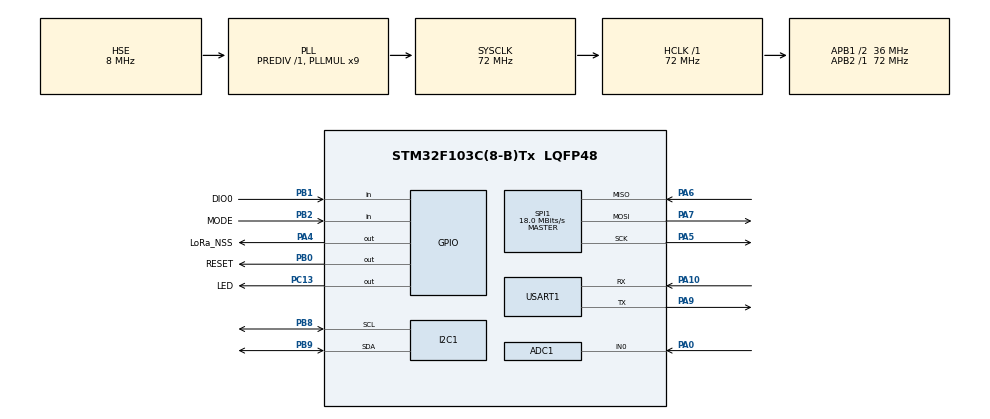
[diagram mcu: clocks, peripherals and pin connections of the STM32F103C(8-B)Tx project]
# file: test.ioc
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ADC1.Channel-0\#ChannelRegularConversion=ADC_CHANNEL_0
ADC1.NbrOfConversionFlag=1
ADC1.Rank-0\#ChannelRegularConversion=1
ADC1.SamplingTime-0\#ChannelRegularConversion=ADC_SAMPLETIME_1CYCLE_5
ADC1.master=1
Dma.ADC1.0.Direction=DMA_PERIPH_TO_MEMORY
Dma.ADC1.0.Instance=DMA1_Channel1
Dma.ADC1.0.MemDataAlignment=DMA_MDATAALIGN_HALFWORD
Dma.ADC1.0.MemInc=DMA_MINC_ENABLE
Dma.ADC1.0.Mode=DMA_CIRCULAR
Dma.ADC1.0.PeriphDataAlignment=DMA_PDATAALIGN_HALFWORD
Dma.ADC1.0.PeriphInc=DMA_PINC_DISABLE
Dma.ADC1.0.Priority=DMA_PRIORITY_LOW
Dma.Request0=ADC1
Mcu.Family=STM32F1
Mcu.Name=STM32F103C(8-B)Tx
Mcu.Package=LQFP48
NVIC.ADC1_2_IRQn=true\:0\:0\:false\:false\:true\:true\:true
NVIC.DMA1_Channel1_IRQn=true\:0\:0\:false\:false\:true\:false\:true
NVIC.PriorityGroup=NVIC_PRIORITYGROUP_4
PA0-WKUP.Signal=ADCx_IN0
PA10.Mode=Asynchronous
PA10.Signal=USART1_RX
PA13.Mode=Trace_Asynchronous_SW
PA13.Signal=SYS_JTMS-SWDIO
PA14.Mode=Trace_Asynchronous_SW
PA14.Signal=SYS_JTCK-SWCLK
PA4.GPIO_Label=LoRa_NSS
PA4.Signal=GPIO_Output
PA5.Mode=Full_Duplex_Master
PA5.Signal=SPI1_SCK
PA6.Mode=Full_Duplex_Master
PA6.Signal=SPI1_MISO
PA7.Mode=Full_Duplex_Master
PA7.Signal=SPI1_MOSI
PA9.Mode=Asynchronous
PA9.Signal=USART1_TX
PB0.GPIO_Label=RESET
PB0.Signal=GPIO_Output
PB1.GPIO_Label=DIO0
PB1.Signal=GPIO_Input
PB2.GPIO_Label=MODE
PB2.Signal=GPIO_Input
PB3.Mode=Trace_Asynchronous_SW
PB3.Signal=SYS_JTDO-TRACESWO
PB8.Mode=I2C
PB8.Signal=I2C1_SCL
PB9.Mode=I2C
PB9.Signal=I2C1_SDA
PC13-TAMPER-RTC.GPIO_Label=LED
PC13-TAMPER-RTC.Signal=GPIO_Output
PD0-OSC_IN.Mode=HSE-External-Oscillator
PD0-OSC_IN.Signal=RCC_OSC_IN
PD1-OSC_OUT.Mode=HSE-External-Oscillator
PD1-OSC_OUT.Signal=RCC_OSC_OUT
ProjectManager.HeapSize=0x200
ProjectManager.StackSize=0x400
ProjectManager.TargetToolchain=MDK-ARM V5
RCC.ADCPresc=RCC_ADCPCLK2_DIV6
RCC.AHBFreq_Value=72000000
RCC.APB1CLKDivider=RCC_HCLK_DIV2
RCC.APB1Freq_Value=36000000
RCC.APB1TimFreq_Value=72000000
RCC.APB2Freq_Value=72000000
RCC.APB2TimFreq_Value=72000000
RCC.HCLKFreq_Value=72000000
RCC.PLLMUL=RCC_PLL_MUL9
RCC.PLLSourceVirtual=RCC_PLLSOURCE_HSE
RCC.SYSCLKFreq_VALUE=72000000
RCC.SYSCLKSource=RCC_SYSCLKSOURCE_PLLCLK
RCC.USBFreq_Value=72000000
SH.ADCx_IN0.0=ADC1_IN0,IN0
SPI1.BaudRatePrescaler=SPI_BAUDRATEPRESCALER_4
SPI1.CalculateBaudRate=18.0 MBits/s
SPI1.Direction=SPI_DIRECTION_2LINES
SPI1.Mode=SPI_MODE_MASTER
SPI1.VirtualType=VM_MASTER
TIM2.Period=4999
TIM2.Prescaler=36000
USART1.VirtualMode=VM_ASYNC
VP_TIM2_VS_ClockSourceINT.Mode=Internal
board=custom

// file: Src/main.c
/* USER CODE BEGIN Header */
/**
  ******************************************************************************
  * @file           : main.c
  * @brief          : Main program body
  ******************************************************************************
  * @attention
  *
  * <h2><center>&copy; Copyright (c) 2019 STMicroelectronics.
  * All rights reserved.</center></h2>
  *
  * This software component is licensed by ST under BSD 3-Clause license,
  * the "License"; You may not use this file except in compliance with the
  * License. You may obtain a copy of the License at:
  *                        opensource.org/licenses/BSD-3-Clause
  *
  ******************************************************************************
  */
/* USER CODE END Header */

#include "main.h"
#include "SX1278.h"
#include <stdio.h>
#include "stm32f1xx_hal.h"
#include "dwt_stm32_delay.h"
#include <string.h>

ADC_HandleTypeDef hadc1;

I2C_HandleTypeDef hi2c1;

SPI_HandleTypeDef hspi1;

TIM_HandleTypeDef htim2;

UART_HandleTypeDef huart1;

ADC_HandleTypeDef hadc1;
DMA_HandleTypeDef hdma_adc1;

//Private variables
GPIO_InitTypeDef GPIO_InitStruct;

uint8_t Rh_byte1, Rh_byte2, Temp_byte1, Temp_byte2;
uint16_t sum, RH, TEMP;
int temp_int, temp_deci, humi_int, humi_deci;
char temp[10], humi[10], soil_data[10];
uint8_t check = 0;
uint16_t ADC_Value;
float soil;
int master, ret;
char buffer[64], buffer_rx[64];
char relay_1[10], relay_2[10];
int message, message_length;
int devAddr = 1;
char id_req[2] = "10";

void set_gpio_output (void)
{
	/*Configure GPIO pin output: PA1 */
  GPIO_InitStruct.Pin = GPIO_PIN_12;
  GPIO_InitStruct.Mode = GPIO_MODE_OUTPUT_PP;
  GPIO_InitStruct.Speed = GPIO_SPEED_FREQ_LOW;
  HAL_GPIO_Init(GPIOB, &GPIO_InitStruct);
}

void set_gpio_input (void)
{
	/*Configure GPIO pin input: PB12 */
  GPIO_InitStruct.Pin = GPIO_PIN_12;
  GPIO_InitStruct.Mode = GPIO_MODE_INPUT;
  GPIO_InitStruct.Pull = GPIO_NOPULL;
  HAL_GPIO_Init(GPIOB, &GPIO_InitStruct);
}

void SystemClock_Config(void);
static void MX_GPIO_Init(void);
static void MX_I2C1_Init(void);
static void MX_ADC1_Init(void);
static void MX_SPI1_Init(void);
static void MX_TIM2_Init(void);
static void MX_USART1_UART_Init(void);

void HAL_ADC_ConvCpltCallback(ADC_HandleTypeDef* hadc)
{
	if (hadc->Instance==hadc1.Instance)
	{
		ADC_Value = HAL_ADC_GetValue(hadc);
	}
}

/* USER CODE BEGIN PFP */

//LCD 2004 function
void lcd_send_cmd (char cmd)
{
  char data_u, data_l;
	uint8_t data_t[4];
	data_u = cmd&0xf0;
	data_l = (cmd<<4)&0xf0;
	data_t[0] = data_u|0x0C;  //en=1, rs=0
	data_t[1] = data_u|0x08;  //en=0, rs=0
	data_t[2] = data_l|0x0C;  //en=1, rs=0
	data_t[3] = data_l|0x08;  //en=0, rs=0
	HAL_I2C_Master_Transmit (&hi2c1, 0x4E,(uint8_t *) data_t, 4, 100);
}

void lcd_send_data (char data)
{
	char data_u, data_l;
	uint8_t data_t[4];
	data_u = data&0xf0;
	data_l = (data<<4)&0xf0;
	data_t[0] = data_u|0x0D;  //en=1, rs=0
	data_t[1] = data_u|0x09;  //en=0, rs=0
	data_t[2] = data_l|0x0D;  //en=1, rs=0
	data_t[3] = data_l|0x09;  //en=0, rs=0
	HAL_I2C_Master_Transmit (&hi2c1, 0x4E,(uint8_t *) data_t, 4, 100);
}

void lcd_init (void)
{
	//Set 4 bits interface
	lcd_send_cmd(0x33);
	HAL_Delay(10);
	lcd_send_cmd(0x32);
	HAL_Delay(50);
	lcd_send_cmd (0x28); // Function set --> DL=0 (4 bit mode), N = 1 (2 line display) F = 0 (5x8 characters)
	HAL_Delay(50);
	lcd_send_cmd(0x01);
	HAL_Delay(50);
	lcd_send_cmd (0x06); //Entry mode set --> I/D = 1 (increment cursor) & S = 0 (no shift)
	HAL_Delay(50);
	lcd_send_cmd (0x0C); //Display on/off control --> D = 1, C and B = 0. (Cursor and blink, last two bits)
	HAL_Delay(50);
	lcd_send_cmd(0x02);
	HAL_Delay(50);
}

void lcd_send_string (char *str)
{
	while (*str) lcd_send_data (*str++);
}

//DHT22 function
void DHT22_init (void)
{
	set_gpio_output ();  // set the pin as output
	HAL_GPIO_WritePin (GPIOA, GPIO_PIN_1, GPIO_PIN_RESET);   // pull the pin low
	DWT_Delay_us (500);   // wait for 500us
	HAL_GPIO_WritePin (GPIOA, GPIO_PIN_1, GPIO_PIN_SET);   // pull the pin high
	DWT_Delay_us (30);   // wait for 30us
	set_gpio_input ();   // set as input
}

void check_response (void)
{
	DWT_Delay_us (40);
	if (!(HAL_GPIO_ReadPin (GPIOB, GPIO_PIN_12)))
	{
		DWT_Delay_us (80);
		if ((HAL_GPIO_ReadPin (GPIOB, GPIO_PIN_12))) check = 1;
	}
	while ((HAL_GPIO_ReadPin (GPIOB, GPIO_PIN_12)));   // wait for the pin to go low
}

uint8_t read_data (void)
{
	uint8_t i,j;
	for (j=0;j<8;j++)
	{
		while (!(HAL_GPIO_ReadPin (GPIOB, GPIO_PIN_12)));   // wait for the pin to go high
		DWT_Delay_us (40);   // wait for 40 us
		if ((HAL_GPIO_ReadPin (GPIOB, GPIO_PIN_12)) == 0)   // if the pin is low
		{
			i&= ~(1<<(7-j));   // write 0
		}
		else i|= (1<<(7-j));  // if the pin is high, write 1
		while ((HAL_GPIO_ReadPin (GPIOB, GPIO_PIN_12)));  // wait for the pin to go low
	}
	return i;
}
/* USER CODE END PFP */

SX1278_hw_t SX1278_hw;
SX1278_t SX1278;

//Khai bao prototype de gui ky tu len may tinh
#ifdef __GNUC__
 /* With GCC/RAISONANCE, small printf (option LD Linker->Libraries->Small printf
 set to 'Yes') calls __io_putchar() */
 #define PUTCHAR_PROTOTYPE int __io_putchar(int ch)
#else
 #define PUTCHAR_PROTOTYPE int fputc(int ch, FILE *f)
 #define GETCHAR_PROTOTYPE int fgetc(FILE *f)
#endif /* __GNUC__ */

PUTCHAR_PROTOTYPE
 {
 /* Place your implementation of fputc here */
 /* e.g. write a character to the USART */
 HAL_UART_Transmit(&huart1, (uint8_t *)&ch, 1, 100);

 return ch;
}

int main(void)
{

  /* MCU Configuration--------------------------------------------------------*/

  /* Reset of all peripherals, Initializes the Flash interface and the Systick. */
  HAL_Init();

  /* Configure the system clock */
  SystemClock_Config();

  /* Initialize all configured peripherals */
  MX_GPIO_Init();
  MX_I2C1_Init();
  MX_ADC1_Init();
  MX_SPI1_Init();
  MX_TIM2_Init();
  MX_USART1_UART_Init();

  /* USER CODE BEGIN 2 */
	DWT_Delay_Init();

	lcd_init();
	lcd_send_cmd(0X80|0x00);
	lcd_send_string("Xin chao...");
	HAL_Delay(1000);
	lcd_send_cmd(0x01);		//clear screen

	HAL_ADC_Start_IT(&hadc1);

	HAL_GPIO_WritePin(MODE_GPIO_Port, MODE_Pin, GPIO_PIN_RESET);
	master = HAL_GPIO_ReadPin(MODE_GPIO_Port, MODE_Pin);
	if (master == 1) {
		printf("Mode: Master\r\n");
		HAL_GPIO_WritePin(MODE_GPIO_Port, MODE_Pin, GPIO_PIN_RESET);
	} else {
		printf("Mode: Slave\r\n");
		HAL_GPIO_WritePin(MODE_GPIO_Port, MODE_Pin, GPIO_PIN_SET);
	}

	//Initialize LoRa
	SX1278_hw.dio0.port = DIO0_GPIO_Port;
	SX1278_hw.dio0.pin = DIO0_Pin;
	SX1278_hw.nss.port = LoRa_NSS_GPIO_Port;
	SX1278_hw.nss.pin = LoRa_NSS_Pin;
	SX1278_hw.reset.port = RESET_GPIO_Port;
	SX1278_hw.reset.pin = RESET_Pin;
	SX1278_hw.spi = &hspi1;

	SX1278.hw = &SX1278_hw;

	printf("Configuring LoRa module...\r\n");
	SX1278_begin(&SX1278, SX1278_433MHZ, SX1278_POWER_17DBM,
								SX1278_LORA_SF_8, SX1278_LORA_BW_20_8KHZ, 10);

	printf("Configure Done!\r\n");

	ret = SX1278_LoRaEntryRx(&SX1278, 160, 2000);

  /* USER CODE END 2 */

  /* Infinite loop */
  /* USER CODE BEGIN WHILE */
  while (1)
  {
		HAL_Delay(5000);
    /* USER CODE END WHILE */

    /* USER CODE BEGIN 3 */

		//DHT22 data
		DHT22_init();
		check_response();
		Rh_byte1 = read_data();
		Rh_byte2 = read_data ();
		Temp_byte1 = read_data ();
		Temp_byte2 = read_data ();
		sum = read_data();
		if (sum == (Rh_byte1 + Rh_byte2 + Temp_byte1 + Temp_byte2))
		{
			TEMP 	= ((Temp_byte1<<8)|Temp_byte2);
			RH 		= ((Rh_byte1<<8)|Rh_byte2);
		}
		temp_int = TEMP/10;
		temp_deci = TEMP%10;
		humi_int = RH/10;
		humi_deci = RH%10;

		HAL_Delay(100);

		//Soil moisture data
		soil = 100 - ((float)ADC_Value/4096)*100;

		//send data to LCD
		lcd_send_cmd(0x80|0x02);
		lcd_send_string("GIA TRI CAM BIEN");
		lcd_send_cmd(0x80|0x040);
		lcd_send_string ("TEMP: ");
		lcd_send_data ((TEMP/100)+48);
		lcd_send_data (((TEMP%100)/10)+48);
		lcd_send_data ('.');
		lcd_send_data ((TEMP%10)+48);
		lcd_send_string ("C");
		HAL_Delay(100);

		lcd_send_cmd(0x80|0x14);
		lcd_send_string ("RH: ");
		lcd_send_data ((RH/100)+48);
		lcd_send_data (((RH%100)/10)+48);
		lcd_send_data ('.');
		lcd_send_data ((RH%10)+48);
		lcd_send_data ('%');
		HAL_Delay(100);

		sprintf(soil_data,"%0.2f", soil);
		lcd_send_cmd(0x80|0x54);
		lcd_send_string("Soil: ");
		lcd_send_string(soil_data);
		lcd_send_data('%');
		HAL_Delay(100);

		// Dieu khien relay
		if (HAL_GPIO_ReadPin(GPIOA, GPIO_PIN_10))
		{
			HAL_GPIO_WritePin(GPIOB, GPIO_PIN_7, GPIO_PIN_SET);
		}
		else
		{
			HAL_GPIO_WritePin(GPIOB, GPIO_PIN_7, GPIO_PIN_RESET);
		}

		if (HAL_GPIO_ReadPin(GPIOA, GPIO_PIN_9))
		{
			HAL_GPIO_WritePin (GPIOB, GPIO_PIN_6, GPIO_PIN_SET);
		}
		else
		{
			HAL_GPIO_WritePin(GPIOB, GPIO_PIN_6, GPIO_PIN_RESET);
		}
		HAL_Delay(500);

		//Status of relay
		if (HAL_GPIO_ReadPin(GPIOB, GPIO_PIN_7) == 1)
		{
			printf("Relay 1 ON\r\n");
			strcpy(relay_1, "BAT ");
		}
		else
		{
			printf("Relay 1 OFF\r\n");
			strcpy(relay_1,"TAT");
		}

		if (HAL_GPIO_ReadPin(GPIOB, GPIO_PIN_6) == 1)
		{
			printf("Relay 2 ON");
			strcpy(relay_2, "BAT");
		}
		else
		{
			printf("Relay 2 OFF\r\n");
			strcpy(relay_2, "TAT");
		}

		if(master == 1)
		{
			message_length = sprintf(buffer, "%d%2.0d.%d%2.0d.%d%s%s%s",devAddr, temp_int, temp_deci,
			humi_int, humi_deci, soil_data, relay_1, relay_2);
			ret = SX1278_LoRaEntryTx(&SX1278, message_length, 2000);
			ret = SX1278_LoRaTxPacket(&SX1278, (uint8_t *) buffer,message_length, 2000);
			printf("Package sent\r\n");
			master = 0;
			ret = SX1278_LoRaEntryRx(&SX1278, 16, 2000);
		}
		else
		{
			printf("Slave ...\r\n");
			printf("Receiving package...\r\n");

			ret = SX1278_LoRaRxPacket(&SX1278);
			printf("Received: %d\r\n", ret);
			if(ret > 0)
			{
				SX1278_read(&SX1278, (uint8_t *) buffer_rx, ret);
				printf("Content (%d): %s\r\n", ret, buffer_rx);
				HAL_Delay(500);
				printf("Package received...\r\n");
				if(strcmp(buffer_rx,id_req)==0)
				{
					master = 1;
					ret = SX1278_LoRaEntryTx(&SX1278,16,2000);
				}
				else
				{
					if (buffer_rx[0] == '1')
					{
						switch (buffer_rx[1])		//Select relay
						{
							case 1:	//relay 1
								if(buffer_rx[2] == 1)
								{
									HAL_GPIO_WritePin(GPIOB, GPIO_PIN_7, GPIO_PIN_SET);
								}
								else
								{
									HAL_GPIO_WritePin(GPIOB, GPIO_PIN_7, GPIO_PIN_RESET);
								}
								break;

							case 2:	//relay 2
								if(buffer_rx[2] == 1)
								{
									HAL_GPIO_WritePin(GPIOB, GPIO_PIN_6, GPIO_PIN_SET);
								}
								else
								{
									HAL_GPIO_WritePin(GPIOB, GPIO_PIN_6, GPIO_PIN_RESET);
								}
								break;
					}
				}
			master = 1;
			ret = SX1278_LoRaEntryTx(&SX1278,16,2000);
			}
		}
		}
  }
  /* USER CODE END 3 */
}

void SystemClock_Config(void)
{
  RCC_OscInitTypeDef RCC_OscInitStruct = {0};
  RCC_ClkInitTypeDef RCC_ClkInitStruct = {0};
  RCC_PeriphCLKInitTypeDef PeriphClkInit = {0};

  /** Initializes the CPU, AHB and APB busses clocks
  */
  RCC_OscInitStruct.OscillatorType = RCC_OSCILLATORTYPE_HSE;
  RCC_OscInitStruct.HSEState = RCC_HSE_ON;
  RCC_OscInitStruct.HSEPredivValue = RCC_HSE_PREDIV_DIV1;
  RCC_OscInitStruct.HSIState = RCC_HSI_ON;
  RCC_OscInitStruct.PLL.PLLState = RCC_PLL_ON;
  RCC_OscInitStruct.PLL.PLLSource = RCC_PLLSOURCE_HSE;
  RCC_OscInitStruct.PLL.PLLMUL = RCC_PLL_MUL9;
  if (HAL_RCC_OscConfig(&RCC_OscInitStruct) != HAL_OK)
  {
    Error_Handler();
  }
  /** Initializes the CPU, AHB and APB busses clocks
  */
  RCC_ClkInitStruct.ClockType = RCC_CLOCKTYPE_HCLK|RCC_CLOCKTYPE_SYSCLK
                              |RCC_CLOCKTYPE_PCLK1|RCC_CLOCKTYPE_PCLK2;
  RCC_ClkInitStruct.SYSCLKSource = RCC_SYSCLKSOURCE_PLLCLK;
  RCC_ClkInitStruct.AHBCLKDivider = RCC_SYSCLK_DIV1;
  RCC_ClkInitStruct.APB1CLKDivider = RCC_HCLK_DIV2;
  RCC_ClkInitStruct.APB2CLKDivider = RCC_HCLK_DIV1;

  if (HAL_RCC_ClockConfig(&RCC_ClkInitStruct, FLASH_LATENCY_2) != HAL_OK)
  {
    Error_Handler();
  }
  PeriphClkInit.PeriphClockSelection = RCC_PERIPHCLK_ADC;
  PeriphClkInit.AdcClockSelection = RCC_ADCPCLK2_DIV6;
  if (HAL_RCCEx_PeriphCLKConfig(&PeriphClkInit) != HAL_OK)
  {
    Error_Handler();
  }
}

static void MX_ADC1_Init(void)
{

  ADC_ChannelConfTypeDef sConfig = {0};

  /** Common config
  */
  hadc1.Instance = ADC1;
  hadc1.Init.ScanConvMode = ADC_SCAN_DISABLE;
  hadc1.Init.ContinuousConvMode = DISABLE;
  hadc1.Init.DiscontinuousConvMode = DISABLE;
  hadc1.Init.ExternalTrigConv = ADC_SOFTWARE_START;
  hadc1.Init.DataAlign = ADC_DATAALIGN_RIGHT;
  hadc1.Init.NbrOfConversion = 1;
  if (HAL_ADC_Init(&hadc1) != HAL_OK)
  {
    Error_Handler();
  }
  /** Configure Regular Channel
  */
  sConfig.Channel = ADC_CHANNEL_0;
  sConfig.Rank = ADC_REGULAR_RANK_1;
  sConfig.SamplingTime = ADC_SAMPLETIME_1CYCLE_5;
  if (HAL_ADC_ConfigChannel(&hadc1, &sConfig) != HAL_OK)
  {
    Error_Handler();
  }

}

static void MX_I2C1_Init(void)
{

  hi2c1.Instance = I2C1;
  hi2c1.Init.ClockSpeed = 100000;
  hi2c1.Init.DutyCycle = I2C_DUTYCYCLE_2;
  hi2c1.Init.OwnAddress1 = 0;
  hi2c1.Init.AddressingMode = I2C_ADDRESSINGMODE_7BIT;
  hi2c1.Init.DualAddressMode = I2C_DUALADDRESS_DISABLE;
  hi2c1.Init.OwnAddress2 = 0;
  hi2c1.Init.GeneralCallMode = I2C_GENERALCALL_DISABLE;
  hi2c1.Init.NoStretchMode = I2C_NOSTRETCH_DISABLE;
  if (HAL_I2C_Init(&hi2c1) != HAL_OK)
  {
    Error_Handler();
  }

}

static void MX_SPI1_Init(void)
{

  /* SPI1 parameter configuration*/
  hspi1.Instance = SPI1;
  hspi1.Init.Mode = SPI_MODE_MASTER;
  hspi1.Init.Direction = SPI_DIRECTION_2LINES;
  hspi1.Init.DataSize = SPI_DATASIZE_8BIT;
  hspi1.Init.CLKPolarity = SPI_POLARITY_LOW;
  hspi1.Init.CLKPhase = SPI_PHASE_1EDGE;
  hspi1.Init.NSS = SPI_NSS_SOFT;
  hspi1.Init.BaudRatePrescaler = SPI_BAUDRATEPRESCALER_4;
  hspi1.Init.FirstBit = SPI_FIRSTBIT_MSB;
  hspi1.Init.TIMode = SPI_TIMODE_DISABLE;
  hspi1.Init.CRCCalculation = SPI_CRCCALCULATION_DISABLE;
  hspi1.Init.CRCPolynomial = 10;
  if (HAL_SPI_Init(&hspi1) != HAL_OK)
  {
    Error_Handler();
  }

}

static void MX_TIM2_Init(void)
{

  TIM_ClockConfigTypeDef sClockSourceConfig = {0};
  TIM_MasterConfigTypeDef sMasterConfig = {0};

  htim2.Instance = TIM2;
  htim2.Init.Prescaler = 36000;
  htim2.Init.CounterMode = TIM_COUNTERMODE_UP;
  htim2.Init.Period = 4999;
  htim2.Init.ClockDivision = TIM_CLOCKDIVISION_DIV1;
  htim2.Init.AutoReloadPreload = TIM_AUTORELOAD_PRELOAD_DISABLE;
  if (HAL_TIM_Base_Init(&htim2) != HAL_OK)
  {
    Error_Handler();
  }
  sClockSourceConfig.ClockSource = TIM_CLOCKSOURCE_INTERNAL;
  if (HAL_TIM_ConfigClockSource(&htim2, &sClockSourceConfig) != HAL_OK)
  {
    Error_Handler();
  }
  sMasterConfig.MasterOutputTrigger = TIM_TRGO_RESET;
  sMasterConfig.MasterSlaveMode = TIM_MASTERSLAVEMODE_DISABLE;
  if (HAL_TIMEx_MasterConfigSynchronization(&htim2, &sMasterConfig) != HAL_OK)
  {
    Error_Handler();
  }

}

static void MX_USART1_UART_Init(void)
{

  huart1.Instance = USART1;
  huart1.Init.BaudRate = 115200;
  huart1.Init.WordLength = UART_WORDLENGTH_8B;
  huart1.Init.StopBits = UART_STOPBITS_1;
  huart1.Init.Parity = UART_PARITY_NONE;
  huart1.Init.Mode = UART_MODE_TX_RX;
  huart1.Init.HwFlowCtl = UART_HWCONTROL_NONE;
  huart1.Init.OverSampling = UART_OVERSAMPLING_16;
  if (HAL_UART_Init(&huart1) != HAL_OK)
  {
    Error_Handler();
  }

}

static void MX_DMA_Init(void)
{

  /* DMA controller clock enable */
  __HAL_RCC_DMA1_CLK_ENABLE();

  /* DMA interrupt init */
  /* DMA1_Channel1_IRQn interrupt configuration */
  HAL_NVIC_SetPriority(DMA1_Channel1_IRQn, 0, 0);
  HAL_NVIC_EnableIRQ(DMA1_Channel1_IRQn);

}

static void MX_GPIO_Init(void)
{
  GPIO_InitTypeDef GPIO_InitStruct;

  /* GPIO Ports Clock Enable */
  __HAL_RCC_GPIOC_CLK_ENABLE();
  __HAL_RCC_GPIOD_CLK_ENABLE();
  __HAL_RCC_GPIOA_CLK_ENABLE();
  __HAL_RCC_GPIOB_CLK_ENABLE();

  /*Configure GPIO pin Output Level */
  HAL_GPIO_WritePin(LED_GPIO_Port, LED_Pin, GPIO_PIN_SET);

  /*Configure GPIO pin Output Level */
  HAL_GPIO_WritePin(LoRa_NSS_GPIO_Port, LoRa_NSS_Pin, GPIO_PIN_SET);

  /*Configure GPIO pin Output Level */
  HAL_GPIO_WritePin(RESET_GPIO_Port, RESET_Pin, GPIO_PIN_SET);

  /*Configure GPIO pin : LED_Pin */
  GPIO_InitStruct.Pin = LED_Pin;
  GPIO_InitStruct.Mode = GPIO_MODE_OUTPUT_PP;
  GPIO_InitStruct.Pull = GPIO_NOPULL;
  GPIO_InitStruct.Speed = GPIO_SPEED_FREQ_LOW;
  HAL_GPIO_Init(LED_GPIO_Port, &GPIO_InitStruct);

  /*Configure GPIO pin : LoRa_NSS_Pin */
  GPIO_InitStruct.Pin = LoRa_NSS_Pin;
  GPIO_InitStruct.Mode = GPIO_MODE_OUTPUT_PP;
  GPIO_InitStruct.Pull = GPIO_NOPULL;
  GPIO_InitStruct.Speed = GPIO_SPEED_FREQ_LOW;
  HAL_GPIO_Init(LoRa_NSS_GPIO_Port, &GPIO_InitStruct);

  /*Configure GPIO pin : RESET_Pin */
  GPIO_InitStruct.Pin = RESET_Pin;
  GPIO_InitStruct.Mode = GPIO_MODE_OUTPUT_PP;
  GPIO_InitStruct.Pull = GPIO_NOPULL;
  GPIO_InitStruct.Speed = GPIO_SPEED_FREQ_LOW;
  HAL_GPIO_Init(RESET_GPIO_Port, &GPIO_InitStruct);

  /*Configure GPIO pins : DIO0_Pin  */
  GPIO_InitStruct.Pin = DIO0_Pin;
  GPIO_InitStruct.Mode = GPIO_MODE_INPUT;
  GPIO_InitStruct.Pull = GPIO_NOPULL;
  HAL_GPIO_Init(GPIOB, &GPIO_InitStruct);

	/*Configure GPIO pins :  MODE_Pin */
  GPIO_InitStruct.Pin = MODE_Pin;
  GPIO_InitStruct.Mode = GPIO_MODE_INPUT;
  GPIO_InitStruct.Pull = GPIO_NOPULL;
  HAL_GPIO_Init(GPIOB, &GPIO_InitStruct);
}

void Error_Handler(void)
{
}

/************************ (C) COPYRIGHT STMicroelectronics *****END OF FILE****/
